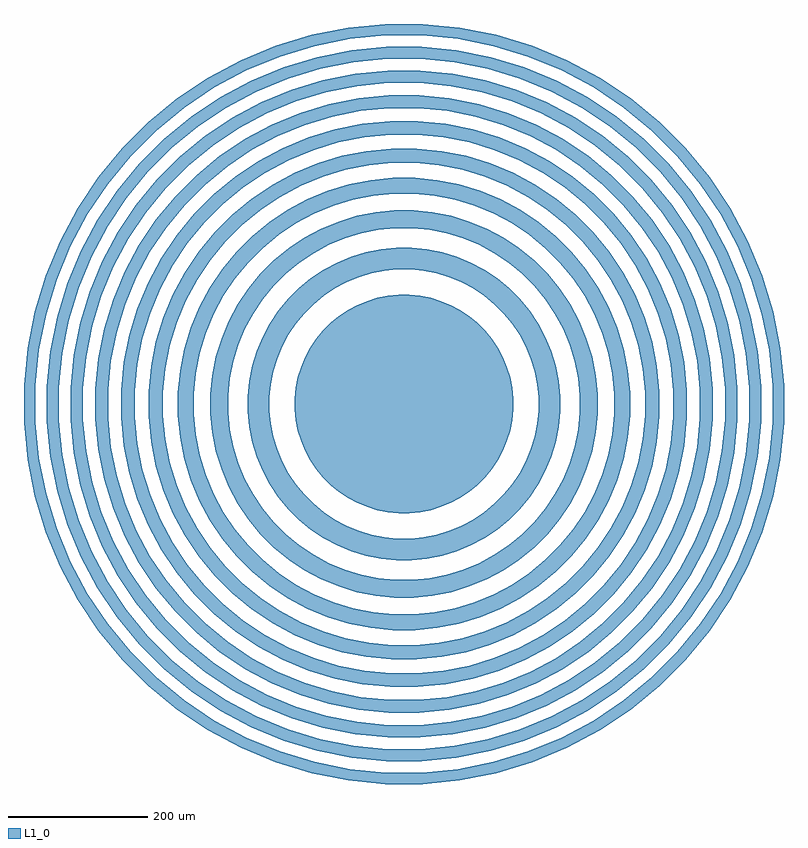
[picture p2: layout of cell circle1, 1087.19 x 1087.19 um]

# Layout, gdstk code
import gdstk
lib = gdstk.Library(unit=1e-6, precision=1e-09)
def P(c, l, *ps):  # polygons
    for p in ps: c.add(gdstk.Polygon(p, *l))
L1_0 = (1, 0)

donut = lib.new_cell('DONUT')
P(donut, L1_0, [(-10.984,-223.589),(-32.847,-221.436),(-54.393,-217.15),(-75.416,-210.773),(-95.712,-202.366),(-115.086,-192.01),(-133.352,-179.805),(-150.334,-165.868),(-165.868,-150.334),(-179.805,-133.352),(-192.01,-115.086),(-202.366,-95.712),(-210.773,-75.416),(-217.15,-54.393),(-221.436,-32.847),(-223.589,-10.984),(-223.589,0),(-192.528,0),(-192.528,-9.458),(-190.674,-28.284),(-186.984,-46.837),(-181.492,-64.939),(-174.253,-82.416),(-165.336,-99.099),(-154.827,-114.827),(-142.826,-129.45),(-129.45,-142.826),(-114.827,-154.827),(-99.099,-165.336),(-82.416,-174.253),(-64.939,-181.492),(-46.837,-186.984),(-28.284,-190.674),(-9.458,-192.528),(9.458,-192.528),(28.284,-190.674),(46.837,-186.984),(64.939,-181.492),(82.416,-174.253),(99.099,-165.336),(114.827,-154.827),(129.45,-142.826),(142.826,-129.45),(154.827,-114.827),(165.336,-99.099),(174.253,-82.416),(181.492,-64.939),(186.984,-46.837),(190.674,-28.284),(192.528,-9.458),(192.528,9.458),(190.674,28.284),(186.984,46.837),(181.492,64.939),(174.253,82.416),(165.336,99.099),(154.827,114.827),(142.826,129.45),(129.45,142.826),(114.827,154.827),(99.099,165.336),(82.416,174.253),(64.939,181.492),(46.837,186.984),(28.284,190.674),(9.458,192.528),(-9.458,192.528),(-28.284,190.674),(-46.837,186.984),(-64.939,181.492),(-82.416,174.253),(-99.099,165.336),(-114.827,154.827),(-129.45,142.826),(-142.826,129.45),(-154.827,114.827),(-165.336,99.099),(-174.253,82.416),(-181.492,64.939),(-186.984,46.837),(-190.674,28.284),(-192.528,9.458),(-192.528,0),(-223.589,0),(-223.589,10.984),(-221.436,32.847),(-217.15,54.393),(-210.773,75.416),(-202.366,95.712),(-192.01,115.086),(-179.805,133.352),(-165.868,150.334),(-150.334,165.868),(-133.352,179.805),(-115.086,192.01),(-95.712,202.366),(-75.416,210.773),(-54.393,217.15),(-32.847,221.436),(-10.984,223.589),(10.984,223.589),(32.847,221.436),(54.393,217.15),(75.416,210.773),(95.712,202.366),(115.086,192.01),(133.352,179.805),(150.334,165.868),(165.868,150.334),(179.805,133.352),(192.01,115.086),(202.366,95.712),(210.773,75.416),(217.15,54.393),(221.436,32.847),(223.589,10.984),(223.589,-10.984),(221.436,-32.847),(217.15,-54.393),(210.773,-75.416),(202.366,-95.712),(192.01,-115.086),(179.805,-133.352),(165.868,-150.334),(150.334,-165.868),(133.352,-179.805),(115.086,-192.01),(95.712,-202.366),(75.416,-210.773),(54.393,-217.15),(32.847,-221.436),(10.984,-223.589)])

donut_2 = lib.new_cell('DONUT$2')
P(donut_2, L1_0, [(-13.605,-276.94),(-40.684,-274.272),(-67.372,-268.964),(-93.411,-261.065),(-118.55,-250.652),(-142.547,-237.825),(-165.172,-222.708),(-186.205,-205.446),(-205.446,-186.205),(-222.708,-165.172),(-237.825,-142.547),(-250.652,-118.55),(-261.065,-93.411),(-268.964,-67.372),(-274.272,-40.684),(-276.94,-13.605),(-276.94,0),(-251.399,0),(-251.399,-12.35),(-248.978,-36.932),(-244.159,-61.159),(-236.989,-84.796),(-227.536,-107.617),(-215.892,-129.401),(-202.169,-149.939),(-186.499,-169.033),(-169.033,-186.499),(-149.939,-202.169),(-129.401,-215.892),(-107.617,-227.536),(-84.796,-236.989),(-61.159,-244.159),(-36.932,-248.978),(-12.35,-251.399),(12.35,-251.399),(36.932,-248.978),(61.159,-244.159),(84.796,-236.989),(107.617,-227.536),(129.401,-215.892),(149.939,-202.169),(169.033,-186.499),(186.499,-169.033),(202.169,-149.939),(215.892,-129.401),(227.536,-107.617),(236.989,-84.796),(244.159,-61.159),(248.978,-36.932),(251.399,-12.35),(251.399,12.35),(248.978,36.932),(244.159,61.159),(236.989,84.796),(227.536,107.617),(215.892,129.401),(202.169,149.939),(186.499,169.033),(169.033,186.499),(149.939,202.169),(129.401,215.892),(107.617,227.536),(84.796,236.989),(61.159,244.159),(36.932,248.978),(12.35,251.399),(-12.35,251.399),(-36.932,248.978),(-61.159,244.159),(-84.796,236.989),(-107.617,227.536),(-129.401,215.892),(-149.939,202.169),(-169.033,186.499),(-186.499,169.033),(-202.169,149.939),(-215.892,129.401),(-227.536,107.617),(-236.989,84.796),(-244.159,61.159),(-248.978,36.932),(-251.399,12.35),(-251.399,0),(-276.94,0),(-276.94,13.605),(-274.272,40.684),(-268.964,67.372),(-261.065,93.411),(-250.652,118.55),(-237.825,142.547),(-222.708,165.172),(-205.446,186.205),(-186.205,205.446),(-165.172,222.708),(-142.547,237.825),(-118.55,250.652),(-93.411,261.065),(-67.372,268.964),(-40.684,274.272),(-13.605,276.94),(13.605,276.94),(40.684,274.272),(67.372,268.964),(93.411,261.065),(118.55,250.652),(142.547,237.825),(165.172,222.708),(186.205,205.446),(205.446,186.205),(222.708,165.172),(237.825,142.547),(250.652,118.55),(261.065,93.411),(268.964,67.372),(274.272,40.684),(276.94,13.605),(276.94,-13.605),(274.272,-40.684),(268.964,-67.372),(261.065,-93.411),(250.652,-118.55),(237.825,-142.547),(222.708,-165.172),(205.446,-186.205),(186.205,-205.446),(165.172,-222.708),(142.547,-237.825),(118.55,-250.652),(93.411,-261.065),(67.372,-268.964),(40.684,-274.272),(13.605,-276.94)])

donut_4 = lib.new_cell('DONUT$4')
P(donut_4, L1_0, [(-15.884,-323.322),(-47.498,-320.209),(-78.656,-314.011),(-109.055,-304.789),(-138.405,-292.632),(-166.421,-277.657),(-192.835,-260.008),(-217.392,-239.855),(-239.855,-217.392),(-260.008,-192.835),(-277.657,-166.421),(-292.632,-138.405),(-304.789,-109.055),(-314.011,-78.656),(-320.209,-47.498),(-323.322,-15.884),(-323.322,0),(-300.789,0),(-300.789,-14.777),(-297.892,-44.188),(-292.127,-73.174),(-283.548,-101.455),(-272.238,-128.759),(-258.307,-154.823),(-241.888,-179.396),(-223.139,-202.241),(-202.241,-223.139),(-179.396,-241.888),(-154.823,-258.307),(-128.759,-272.238),(-101.455,-283.548),(-73.174,-292.127),(-44.188,-297.892),(-14.777,-300.789),(14.777,-300.789),(44.188,-297.892),(73.174,-292.127),(101.455,-283.548),(128.759,-272.238),(154.823,-258.307),(179.396,-241.888),(202.241,-223.139),(223.139,-202.241),(241.888,-179.396),(258.307,-154.823),(272.238,-128.759),(283.548,-101.455),(292.127,-73.174),(297.892,-44.188),(300.789,-14.777),(300.789,14.777),(297.892,44.188),(292.127,73.174),(283.548,101.455),(272.238,128.759),(258.307,154.823),(241.888,179.396),(223.139,202.241),(202.241,223.139),(179.396,241.888),(154.823,258.307),(128.759,272.238),(101.455,283.548),(73.174,292.127),(44.188,297.892),(14.777,300.789),(-14.777,300.789),(-44.188,297.892),(-73.174,292.127),(-101.455,283.548),(-128.759,272.238),(-154.823,258.307),(-179.396,241.888),(-202.241,223.139),(-223.139,202.241),(-241.888,179.396),(-258.307,154.823),(-272.238,128.759),(-283.548,101.455),(-292.127,73.174),(-297.892,44.188),(-300.789,14.777),(-300.789,0),(-323.322,0),(-323.322,15.884),(-320.209,47.498),(-314.011,78.656),(-304.789,109.055),(-292.632,138.405),(-277.657,166.421),(-260.008,192.835),(-239.855,217.392),(-217.392,239.855),(-192.835,260.008),(-166.421,277.657),(-138.405,292.632),(-109.055,304.789),(-78.656,314.011),(-47.498,320.209),(-15.884,323.322),(15.884,323.322),(47.498,320.209),(78.656,314.011),(109.055,304.789),(138.405,292.632),(166.421,277.657),(192.835,260.008),(217.392,239.855),(239.855,217.392),(260.008,192.835),(277.657,166.421),(292.632,138.405),(304.789,109.055),(314.011,78.656),(320.209,47.498),(323.322,15.884),(323.322,-15.884),(320.209,-47.498),(314.011,-78.656),(304.789,-109.055),(292.632,-138.405),(277.657,-166.421),(260.008,-192.835),(239.855,-217.392),(217.392,-239.855),(192.835,-260.008),(166.421,-277.657),(138.405,-292.632),(109.055,-304.789),(78.656,-314.011),(47.498,-320.209),(15.884,-323.322)])

donut_7 = lib.new_cell('DONUT$7')
P(donut_7, L1_0, [(-17.951,-365.401),(-53.68,-361.882),(-88.892,-354.877),(-123.248,-344.456),(-156.417,-330.717),(-188.08,-313.793),(-217.931,-293.846),(-245.684,-271.071),(-271.071,-245.684),(-293.846,-217.931),(-313.793,-188.08),(-330.717,-156.417),(-344.456,-123.248),(-354.877,-88.892),(-361.882,-53.68),(-365.401,-17.951),(-365.401,0),(-344.797,0),(-344.797,-16.939),(-341.477,-50.653),(-334.868,-83.88),(-325.033,-116.299),(-312.069,-147.598),(-296.099,-177.475),(-277.278,-205.643),(-255.786,-231.831),(-231.831,-255.786),(-205.643,-277.278),(-177.475,-296.099),(-147.598,-312.069),(-116.299,-325.033),(-83.88,-334.868),(-50.653,-341.477),(-16.939,-344.797),(16.939,-344.797),(50.653,-341.477),(83.88,-334.868),(116.299,-325.033),(147.598,-312.069),(177.475,-296.099),(205.643,-277.278),(231.831,-255.786),(255.786,-231.831),(277.278,-205.643),(296.099,-177.475),(312.069,-147.598),(325.033,-116.299),(334.868,-83.88),(341.477,-50.653),(344.797,-16.939),(344.797,16.939),(341.477,50.653),(334.868,83.88),(325.033,116.299),(312.069,147.598),(296.099,177.475),(277.278,205.643),(255.786,231.831),(231.831,255.786),(205.643,277.278),(177.475,296.099),(147.598,312.069),(116.299,325.033),(83.88,334.868),(50.653,341.477),(16.939,344.797),(-16.939,344.797),(-50.653,341.477),(-83.88,334.868),(-116.299,325.033),(-147.598,312.069),(-177.475,296.099),(-205.643,277.278),(-231.831,255.786),(-255.786,231.831),(-277.278,205.643),(-296.099,177.475),(-312.069,147.598),(-325.033,116.299),(-334.868,83.88),(-341.477,50.653),(-344.797,16.939),(-344.797,0),(-365.401,0),(-365.401,17.951),(-361.882,53.68),(-354.877,88.892),(-344.456,123.248),(-330.717,156.417),(-313.793,188.08),(-293.846,217.931),(-271.071,245.684),(-245.684,271.071),(-217.931,293.846),(-188.08,313.793),(-156.417,330.717),(-123.248,344.456),(-88.892,354.877),(-53.68,361.882),(-17.951,365.401),(17.951,365.401),(53.68,361.882),(88.892,354.877),(123.248,344.456),(156.417,330.717),(188.08,313.793),(217.931,293.846),(245.684,271.071),(271.071,245.684),(293.846,217.931),(313.793,188.08),(330.717,156.417),(344.456,123.248),(354.877,88.892),(361.882,53.68),(365.401,17.951),(365.401,-17.951),(361.882,-53.68),(354.877,-88.892),(344.456,-123.248),(330.717,-156.417),(313.793,-188.08),(293.846,-217.931),(271.071,-245.684),(245.684,-271.071),(217.931,-293.846),(188.08,-313.793),(156.417,-330.717),(123.248,-344.456),(88.892,-354.877),(53.68,-361.882),(17.951,-365.401)])

donut_6 = lib.new_cell('DONUT$6')
P(donut_6, L1_0, [(-19.873,-404.52),(-59.427,-400.624),(-98.409,-392.87),(-136.443,-381.333),(-173.163,-366.123),(-208.216,-347.387),(-241.263,-325.305),(-271.987,-300.091),(-300.091,-271.987),(-325.305,-241.263),(-347.387,-208.216),(-366.123,-173.163),(-381.333,-136.443),(-392.87,-98.409),(-400.624,-59.427),(-404.52,-19.873),(-404.52,0),(-385.272,0),(-385.272,-18.927),(-381.562,-56.599),(-374.177,-93.726),(-363.188,-129.951),(-348.702,-164.924),(-330.858,-198.308),(-309.827,-229.783),(-285.812,-259.045),(-259.045,-285.812),(-229.783,-309.827),(-198.308,-330.858),(-164.924,-348.702),(-129.951,-363.188),(-93.726,-374.177),(-56.599,-381.562),(-18.927,-385.272),(18.927,-385.272),(56.599,-381.562),(93.726,-374.177),(129.951,-363.188),(164.924,-348.702),(198.308,-330.858),(229.783,-309.827),(259.045,-285.812),(285.812,-259.045),(309.827,-229.783),(330.858,-198.308),(348.702,-164.924),(363.188,-129.951),(374.177,-93.726),(381.562,-56.599),(385.272,-18.927),(385.272,18.927),(381.562,56.599),(374.177,93.726),(363.188,129.951),(348.702,164.924),(330.858,198.308),(309.827,229.783),(285.812,259.045),(259.045,285.812),(229.783,309.827),(198.308,330.858),(164.924,348.702),(129.951,363.188),(93.726,374.177),(56.599,381.562),(18.927,385.272),(-18.927,385.272),(-56.599,381.562),(-93.726,374.177),(-129.951,363.188),(-164.924,348.702),(-198.308,330.858),(-229.783,309.827),(-259.045,285.812),(-285.812,259.045),(-309.827,229.783),(-330.858,198.308),(-348.702,164.924),(-363.188,129.951),(-374.177,93.726),(-381.562,56.599),(-385.272,18.927),(-385.272,0),(-404.52,0),(-404.52,19.873),(-400.624,59.427),(-392.87,98.409),(-381.333,136.443),(-366.123,173.163),(-347.387,208.216),(-325.305,241.263),(-300.091,271.987),(-271.987,300.091),(-241.263,325.305),(-208.216,347.387),(-173.163,366.123),(-136.443,381.333),(-98.409,392.87),(-59.427,400.624),(-19.873,404.52),(19.873,404.52),(59.427,400.624),(98.409,392.87),(136.443,381.333),(173.163,366.123),(208.216,347.387),(241.263,325.305),(271.987,300.091),(300.091,271.987),(325.305,241.263),(347.387,208.216),(366.123,173.163),(381.333,136.443),(392.87,98.409),(400.624,59.427),(404.52,19.873),(404.52,-19.873),(400.624,-59.427),(392.87,-98.409),(381.333,-136.443),(366.123,-173.163),(347.387,-208.216),(325.305,-241.263),(300.091,-271.987),(271.987,-300.091),(241.263,-325.305),(208.216,-347.387),(173.163,-366.123),(136.443,-381.333),(98.409,-392.87),(59.427,-400.624),(19.873,-404.52)])

donut_8 = lib.new_cell('DONUT$8')
P(donut_8, L1_0, [(-21.688,-441.467),(-64.855,-437.216),(-107.397,-428.753),(-148.905,-416.162),(-188.979,-399.563),(-227.233,-379.116),(-263.299,-355.017),(-296.829,-327.5),(-327.5,-296.829),(-355.017,-263.299),(-379.116,-227.233),(-399.563,-188.979),(-416.162,-148.905),(-428.753,-107.397),(-437.216,-64.855),(-441.467,-21.688),(-441.467,0),(-423.229,0),(-423.229,-20.792),(-419.153,-62.175),(-411.04,-102.96),(-398.969,-142.753),(-383.056,-181.172),(-363.453,-217.845),(-340.35,-252.421),(-313.97,-284.566),(-284.566,-313.97),(-252.421,-340.35),(-217.845,-363.453),(-181.172,-383.056),(-142.753,-398.969),(-102.96,-411.04),(-62.175,-419.153),(-20.792,-423.229),(20.792,-423.229),(62.175,-419.153),(102.96,-411.04),(142.753,-398.969),(181.172,-383.056),(217.845,-363.453),(252.421,-340.35),(284.566,-313.97),(313.97,-284.566),(340.35,-252.421),(363.453,-217.845),(383.056,-181.172),(398.969,-142.753),(411.04,-102.96),(419.153,-62.175),(423.229,-20.792),(423.229,20.792),(419.153,62.175),(411.04,102.96),(398.969,142.753),(383.056,181.172),(363.453,217.845),(340.35,252.421),(313.97,284.566),(284.566,313.97),(252.421,340.35),(217.845,363.453),(181.172,383.056),(142.753,398.969),(102.96,411.04),(62.175,419.153),(20.792,423.229),(-20.792,423.229),(-62.175,419.153),(-102.96,411.04),(-142.753,398.969),(-181.172,383.056),(-217.845,363.453),(-252.421,340.35),(-284.566,313.97),(-313.97,284.566),(-340.35,252.421),(-363.453,217.845),(-383.056,181.172),(-398.969,142.753),(-411.04,102.96),(-419.153,62.175),(-423.229,20.792),(-423.229,0),(-441.467,0),(-441.467,21.688),(-437.216,64.855),(-428.753,107.397),(-416.162,148.905),(-399.563,188.979),(-379.116,227.233),(-355.017,263.299),(-327.5,296.829),(-296.829,327.5),(-263.299,355.017),(-227.233,379.116),(-188.979,399.563),(-148.905,416.162),(-107.397,428.753),(-64.855,437.216),(-21.688,441.467),(21.688,441.467),(64.855,437.216),(107.397,428.753),(148.905,416.162),(188.979,399.563),(227.233,379.116),(263.299,355.017),(296.829,327.5),(327.5,296.829),(355.017,263.299),(379.116,227.233),(399.563,188.979),(416.162,148.905),(428.753,107.397),(437.216,64.855),(441.467,21.688),(441.467,-21.688),(437.216,-64.855),(428.753,-107.397),(416.162,-148.905),(399.563,-188.979),(379.116,-227.233),(355.017,-263.299),(327.5,-296.829),(296.829,-327.5),(263.299,-355.017),(227.233,-379.116),(188.979,-399.563),(148.905,-416.162),(107.397,-428.753),(64.855,-437.216),(21.688,-441.467)])

donut_10 = lib.new_cell('DONUT$10')
P(donut_10, L1_0, [(-23.421,-476.748),(-70.038,-472.157),(-115.98,-463.018),(-160.805,-449.421),(-204.082,-431.495),(-245.393,-409.414),(-284.341,-383.389),(-320.551,-353.673),(-353.673,-320.551),(-383.389,-284.341),(-409.414,-245.393),(-431.495,-204.082),(-449.421,-160.805),(-463.018,-115.98),(-472.157,-70.038),(-476.748,-23.421),(-476.748,0),(-459.292,0),(-459.292,-22.564),(-454.868,-67.473),(-446.064,-111.733),(-432.965,-154.917),(-415.695,-196.609),(-394.423,-236.408),(-369.351,-273.93),(-340.723,-308.813),(-308.813,-340.723),(-273.93,-369.351),(-236.408,-394.423),(-196.609,-415.695),(-154.917,-432.965),(-111.733,-446.064),(-67.473,-454.868),(-22.564,-459.292),(22.564,-459.292),(67.473,-454.868),(111.733,-446.064),(154.917,-432.965),(196.609,-415.695),(236.408,-394.423),(273.93,-369.351),(308.813,-340.723),(340.723,-308.813),(369.351,-273.93),(394.423,-236.408),(415.695,-196.609),(432.965,-154.917),(446.064,-111.733),(454.868,-67.473),(459.292,-22.564),(459.292,22.564),(454.868,67.473),(446.064,111.733),(432.965,154.917),(415.695,196.609),(394.423,236.408),(369.351,273.93),(340.723,308.813),(308.813,340.723),(273.93,369.351),(236.408,394.423),(196.609,415.695),(154.917,432.965),(111.733,446.064),(67.473,454.868),(22.564,459.292),(-22.564,459.292),(-67.473,454.868),(-111.733,446.064),(-154.917,432.965),(-196.609,415.695),(-236.408,394.423),(-273.93,369.351),(-308.813,340.723),(-340.723,308.813),(-369.351,273.93),(-394.423,236.408),(-415.695,196.609),(-432.965,154.917),(-446.064,111.733),(-454.868,67.473),(-459.292,22.564),(-459.292,0),(-476.748,0),(-476.748,23.421),(-472.157,70.038),(-463.018,115.98),(-449.421,160.805),(-431.495,204.082),(-409.414,245.393),(-383.389,284.341),(-353.673,320.551),(-320.551,353.673),(-284.341,383.389),(-245.393,409.414),(-204.082,431.495),(-160.805,449.421),(-115.98,463.018),(-70.038,472.157),(-23.421,476.748),(23.421,476.748),(70.038,472.157),(115.98,463.018),(160.805,449.421),(204.082,431.495),(245.393,409.414),(284.341,383.389),(320.551,353.673),(353.673,320.551),(383.389,284.341),(409.414,245.393),(431.495,204.082),(449.421,160.805),(463.018,115.98),(472.157,70.038),(476.748,23.421),(476.748,-23.421),(472.157,-70.038),(463.018,-115.98),(449.421,-160.805),(431.495,-204.082),(409.414,-245.393),(383.389,-284.341),(353.673,-320.551),(320.551,-353.673),(284.341,-383.389),(245.393,-409.414),(204.082,-431.495),(160.805,-449.421),(115.98,-463.018),(70.038,-472.157),(23.421,-476.748)])

donut_13 = lib.new_cell('DONUT$13')
P(donut_13, L1_0, [(-25.089,-510.708),(-75.027,-505.789),(-124.242,-496),(-172.26,-481.434),(-218.619,-462.231),(-262.873,-438.577),(-304.595,-410.699),(-343.384,-378.866),(-378.866,-343.384),(-410.699,-304.595),(-438.577,-262.873),(-462.231,-218.619),(-481.434,-172.26),(-496,-124.242),(-505.789,-75.027),(-510.708,-25.089),(-510.708,0),(-493.876,0),(-493.876,-24.263),(-489.119,-72.554),(-479.653,-120.147),(-465.567,-166.582),(-446.997,-211.414),(-424.122,-254.209),(-397.163,-294.556),(-366.379,-332.067),(-332.067,-366.379),(-294.556,-397.163),(-254.209,-424.122),(-211.414,-446.997),(-166.582,-465.567),(-120.147,-479.653),(-72.554,-489.119),(-24.263,-493.876),(24.263,-493.876),(72.554,-489.119),(120.147,-479.653),(166.582,-465.567),(211.414,-446.997),(254.209,-424.122),(294.556,-397.163),(332.067,-366.379),(366.379,-332.067),(397.163,-294.556),(424.122,-254.209),(446.997,-211.414),(465.567,-166.582),(479.653,-120.147),(489.119,-72.554),(493.876,-24.263),(493.876,24.263),(489.119,72.554),(479.653,120.147),(465.567,166.582),(446.997,211.414),(424.122,254.209),(397.163,294.556),(366.379,332.067),(332.067,366.379),(294.556,397.163),(254.209,424.122),(211.414,446.997),(166.582,465.567),(120.147,479.653),(72.554,489.119),(24.263,493.876),(-24.263,493.876),(-72.554,489.119),(-120.147,479.653),(-166.582,465.567),(-211.414,446.997),(-254.209,424.122),(-294.556,397.163),(-332.067,366.379),(-366.379,332.067),(-397.163,294.556),(-424.122,254.209),(-446.997,211.414),(-465.567,166.582),(-479.653,120.147),(-489.119,72.554),(-493.876,24.263),(-493.876,0),(-510.708,0),(-510.708,25.089),(-505.789,75.027),(-496,124.242),(-481.434,172.26),(-462.231,218.619),(-438.577,262.873),(-410.699,304.595),(-378.866,343.384),(-343.384,378.866),(-304.595,410.699),(-262.873,438.577),(-218.619,462.231),(-172.26,481.434),(-124.242,496),(-75.027,505.789),(-25.089,510.708),(25.089,510.708),(75.027,505.789),(124.242,496),(172.26,481.434),(218.619,462.231),(262.873,438.577),(304.595,410.699),(343.384,378.866),(378.866,343.384),(410.699,304.595),(438.577,262.873),(462.231,218.619),(481.434,172.26),(496,124.242),(505.789,75.027),(510.708,25.089),(510.708,-25.089),(505.789,-75.027),(496,-124.242),(481.434,-172.26),(462.231,-218.619),(438.577,-262.873),(410.699,-304.595),(378.866,-343.384),(343.384,-378.866),(304.595,-410.699),(262.873,-438.577),(218.619,-462.231),(172.26,-481.434),(124.242,-496),(75.027,-505.789),(25.089,-510.708)])

donut_14 = lib.new_cell('DONUT$14')
P(donut_14, L1_0, [(-26.705,-543.594),(-79.858,-538.359),(-132.242,-527.939),(-183.352,-512.435),(-232.697,-491.996),(-279.8,-466.819),(-324.209,-437.145),(-365.496,-403.262),(-403.262,-365.496),(-437.145,-324.209),(-466.819,-279.8),(-491.996,-232.697),(-512.435,-183.352),(-527.939,-132.242),(-538.359,-79.858),(-543.594,-26.705),(-543.594,0),(-527.272,0),(-527.272,-25.903),(-522.194,-77.46),(-512.088,-128.271),(-497.049,-177.847),(-477.223,-225.71),(-452.802,-271.399),(-424.02,-314.475),(-391.154,-354.522),(-354.522,-391.154),(-314.475,-424.02),(-271.399,-452.802),(-225.71,-477.223),(-177.847,-497.049),(-128.271,-512.088),(-77.46,-522.194),(-25.903,-527.272),(25.903,-527.272),(77.46,-522.194),(128.271,-512.088),(177.847,-497.049),(225.71,-477.223),(271.399,-452.802),(314.475,-424.02),(354.522,-391.154),(391.154,-354.522),(424.02,-314.475),(452.802,-271.399),(477.223,-225.71),(497.049,-177.847),(512.088,-128.271),(522.194,-77.46),(527.272,-25.903),(527.272,25.903),(522.194,77.46),(512.088,128.271),(497.049,177.847),(477.223,225.71),(452.802,271.399),(424.02,314.475),(391.154,354.522),(354.522,391.154),(314.475,424.02),(271.399,452.802),(225.71,477.223),(177.847,497.049),(128.271,512.088),(77.46,522.194),(25.903,527.272),(-25.903,527.272),(-77.46,522.194),(-128.271,512.088),(-177.847,497.049),(-225.71,477.223),(-271.399,452.802),(-314.475,424.02),(-354.522,391.154),(-391.154,354.522),(-424.02,314.475),(-452.802,271.399),(-477.223,225.71),(-497.049,177.847),(-512.088,128.271),(-522.194,77.46),(-527.272,25.903),(-527.272,0),(-543.594,0),(-543.594,26.705),(-538.359,79.858),(-527.939,132.242),(-512.435,183.352),(-491.996,232.697),(-466.819,279.8),(-437.145,324.209),(-403.262,365.496),(-365.496,403.262),(-324.209,437.145),(-279.8,466.819),(-232.697,491.996),(-183.352,512.435),(-132.242,527.939),(-79.858,538.359),(-26.705,543.594),(26.705,543.594),(79.858,538.359),(132.242,527.939),(183.352,512.435),(232.697,491.996),(279.8,466.819),(324.209,437.145),(365.496,403.262),(403.262,365.496),(437.145,324.209),(466.819,279.8),(491.996,232.697),(512.435,183.352),(527.939,132.242),(538.359,79.858),(543.594,26.705),(543.594,-26.705),(538.359,-79.858),(527.939,-132.242),(512.435,-183.352),(491.996,-232.697),(466.819,-279.8),(437.145,-324.209),(403.262,-365.496),(365.496,-403.262),(324.209,-437.145),(279.8,-466.819),(232.697,-491.996),(183.352,-512.435),(132.242,-527.939),(79.858,-538.359),(26.705,-543.594)])

circle = lib.new_cell('CIRCLE')
P(circle, L1_0, [(-7.678,-156.291),(-22.96,-154.786),(-38.021,-151.79),(-52.716,-147.332),(-66.903,-141.456),(-80.446,-134.217),(-93.215,-125.685),(-105.085,-115.943),(-115.943,-105.085),(-125.685,-93.215),(-134.217,-80.446),(-141.456,-66.903),(-147.332,-52.716),(-151.79,-38.021),(-154.786,-22.96),(-156.291,-7.678),(-156.291,7.678),(-154.786,22.96),(-151.79,38.021),(-147.332,52.716),(-141.456,66.903),(-134.217,80.446),(-125.685,93.215),(-115.943,105.085),(-105.085,115.943),(-93.215,125.685),(-80.446,134.217),(-66.903,141.456),(-52.716,147.332),(-38.021,151.79),(-22.96,154.786),(-7.678,156.291),(7.678,156.291),(22.96,154.786),(38.021,151.79),(52.716,147.332),(66.903,141.456),(80.446,134.217),(93.215,125.685),(105.085,115.943),(115.943,105.085),(125.685,93.215),(134.217,80.446),(141.456,66.903),(147.332,52.716),(151.79,38.021),(154.786,22.96),(156.291,7.678),(156.291,-7.678),(154.786,-22.96),(151.79,-38.021),(147.332,-52.716),(141.456,-66.903),(134.217,-80.446),(125.685,-93.215),(115.943,-105.085),(105.085,-115.943),(93.215,-125.685),(80.446,-134.217),(66.903,-141.456),(52.716,-147.332),(38.021,-151.79),(22.96,-154.786),(7.678,-156.291)])

circle1 = lib.new_cell('circle1')
circle1.add(gdstk.Reference(donut, (0,0)))
circle1.add(gdstk.Reference(donut_2, (0,0)))
circle1.add(gdstk.Reference(donut_4, (0,0)))
circle1.add(gdstk.Reference(donut_7, (0,0)))
circle1.add(gdstk.Reference(donut_6, (0,0)))
circle1.add(gdstk.Reference(donut_8, (0,0)))
circle1.add(gdstk.Reference(donut_10, (0,0)))
circle1.add(gdstk.Reference(donut_13, (0,0)))
circle1.add(gdstk.Reference(donut_14, (0,0)))
circle1.add(gdstk.Reference(circle, (0,0)))

lib.write_gds('circle1.gds')
